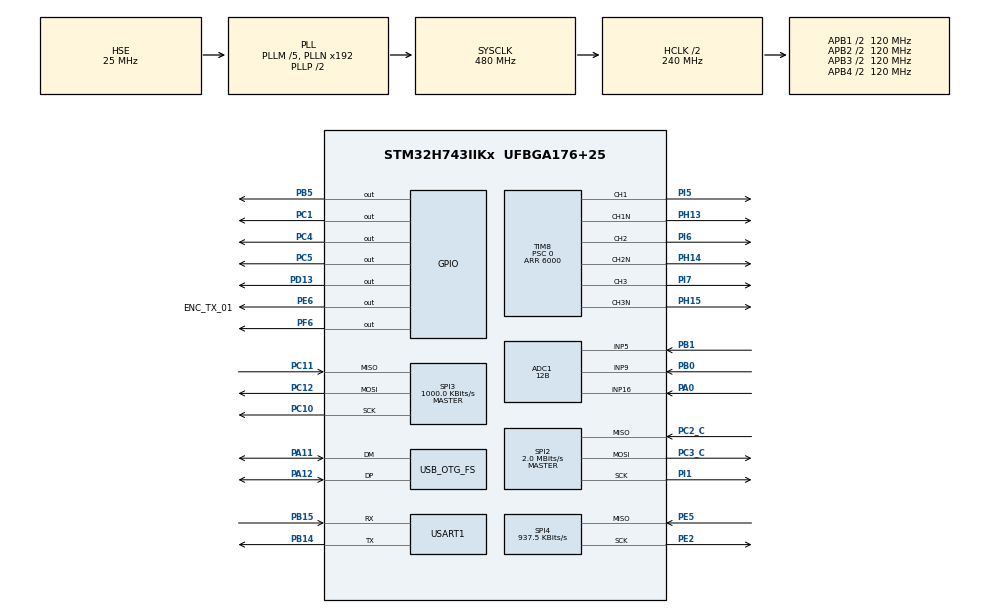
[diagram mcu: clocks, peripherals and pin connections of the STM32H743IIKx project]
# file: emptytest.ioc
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ADC1.Channel-1\#ChannelRegularConversion=ADC_CHANNEL_16
ADC1.ContinuousConvMode=ENABLE
ADC1.EnableInjectedConversion=ENABLE
ADC1.EOCSelection=ADC_EOC_SEQ_CONV
ADC1.ExternalTrigInjecConv=ADC_EXTERNALTRIGINJEC_T8_TRGO2
ADC1.ExternalTrigInjecConvEdge=ADC_EXTERNALTRIGINJECCONV_EDGE_RISING
ADC1.InjNumberOfConversion=2
ADC1.InjectedChannel-4\#ChannelInjectedConversion=ADC_CHANNEL_5
ADC1.InjectedChannel-5\#ChannelInjectedConversion=ADC_CHANNEL_9
ADC1.InjectedOffsetNumber-4\#ChannelInjectedConversion=ADC_OFFSET_NONE
ADC1.InjectedOffsetNumber-5\#ChannelInjectedConversion=ADC_OFFSET_NONE
ADC1.InjectedOffsetSaturation-4\#ChannelInjectedConversion=DISABLE
ADC1.InjectedOffsetSaturation-5\#ChannelInjectedConversion=DISABLE
ADC1.InjectedRank-4\#ChannelInjectedConversion=1
ADC1.InjectedRank-5\#ChannelInjectedConversion=2
ADC1.InjectedSamplingTime-4\#ChannelInjectedConversion=ADC_SAMPLETIME_32CYCLES_5
ADC1.InjectedSamplingTime-5\#ChannelInjectedConversion=ADC_SAMPLETIME_32CYCLES_5
ADC1.NbrOfConversion=1
ADC1.NbrOfConversionFlag=1
ADC1.OffsetNumber-1\#ChannelRegularConversion=ADC_OFFSET_NONE
ADC1.OffsetSignedSaturation-1\#ChannelRegularConversion=DISABLE
ADC1.Rank-1\#ChannelRegularConversion=1
ADC1.Resolution=ADC_RESOLUTION_12B
ADC1.SamplingTime-1\#ChannelRegularConversion=ADC_SAMPLETIME_32CYCLES_5
ADC1.master=1
CORTEX_M7.default_mode_Activation=1
Dma.Request0=SPI4_RX
Dma.Request1=SPI4_TX
Dma.SPI4_RX.0.Direction=DMA_PERIPH_TO_MEMORY
Dma.SPI4_RX.0.Instance=DMA1_Stream0
Dma.SPI4_RX.0.MemDataAlignment=DMA_MDATAALIGN_BYTE
Dma.SPI4_RX.0.MemInc=DMA_MINC_ENABLE
Dma.SPI4_RX.0.Mode=DMA_NORMAL
Dma.SPI4_RX.0.PeriphDataAlignment=DMA_PDATAALIGN_BYTE
Dma.SPI4_RX.0.PeriphInc=DMA_PINC_DISABLE
Dma.SPI4_RX.0.Priority=DMA_PRIORITY_HIGH
Dma.SPI4_TX.1.Direction=DMA_MEMORY_TO_PERIPH
Dma.SPI4_TX.1.Instance=DMA1_Stream1
Dma.SPI4_TX.1.MemDataAlignment=DMA_MDATAALIGN_BYTE
Dma.SPI4_TX.1.MemInc=DMA_MINC_ENABLE
Dma.SPI4_TX.1.Mode=DMA_NORMAL
Dma.SPI4_TX.1.PeriphDataAlignment=DMA_PDATAALIGN_BYTE
Dma.SPI4_TX.1.PeriphInc=DMA_PINC_DISABLE
Dma.SPI4_TX.1.Priority=DMA_PRIORITY_MEDIUM
Mcu.Family=STM32H7
Mcu.Name=STM32H743IIKx
Mcu.Package=UFBGA176+25
NVIC.ADC_IRQn=true\:0\:0\:false\:false\:true\:true\:true\:true
NVIC.DMA1_Stream0_IRQn=true\:1\:0\:false\:false\:true\:false\:true\:true
NVIC.DMA1_Stream1_IRQn=true\:1\:0\:false\:false\:true\:false\:true\:true
NVIC.OTG_FS_IRQn=true\:4\:0\:true\:false\:true\:false\:true\:true
NVIC.PriorityGroup=NVIC_PRIORITYGROUP_4
NVIC.SPI4_IRQn=true\:1\:0\:false\:false\:true\:true\:true\:true
NVIC.TIM6_DAC_IRQn=true\:2\:0\:true\:false\:true\:true\:true\:true
NVIC.TIM8_UP_TIM13_IRQn=true\:0\:0\:false\:false\:true\:true\:true\:true
NVIC.USART1_IRQn=true\:5\:0\:false\:false\:true\:true\:true\:true
PA0.Mode=IN16-Single-Ended
PA0.Signal=ADC1_INP16
PA11.Mode=Device_Only
PA11.Signal=USB_OTG_FS_DM
PA12.Mode=Device_Only
PA12.Signal=USB_OTG_FS_DP
PA13\ (JTMS/SWDIO).Mode=Serial_Wire
PA13\ (JTMS/SWDIO).Signal=DEBUG_JTMS-SWDIO
PA14\ (JTCK/SWCLK).Mode=Serial_Wire
PA14\ (JTCK/SWCLK).Signal=DEBUG_JTCK-SWCLK
PB0.Signal=ADCx_INP9
PB1.Signal=ADCx_INP5
PB14.Mode=Asynchronous
PB14.Signal=USART1_TX
PB15.Mode=Asynchronous
PB15.Signal=USART1_RX
PB5.PinState=GPIO_PIN_SET
PB5.Signal=GPIO_Output
PC1.Signal=GPIO_Output
PC10.Mode=Full_Duplex_Master
PC10.Signal=SPI3_SCK
PC11.Mode=Full_Duplex_Master
PC11.Signal=SPI3_MISO
PC12.Mode=Full_Duplex_Master
PC12.Signal=SPI3_MOSI
PC2_C.Mode=Full_Duplex_Master
PC2_C.Signal=SPI2_MISO
PC3_C.Mode=Full_Duplex_Master
PC3_C.Signal=SPI2_MOSI
PC4.Signal=GPIO_Output
PC5.Signal=GPIO_Output
PD13.Signal=GPIO_Output
PE2.Mode=Full_Duplex_Master
PE2.Signal=SPI4_SCK
PE5.Mode=Full_Duplex_Master
PE5.Signal=SPI4_MISO
PE6.GPIO_Label=ENC_TX_01
PE6.Signal=GPIO_Output
PF6.Signal=GPIO_Output
PH0-OSC_IN\ (PH0).Mode=HSE-External-Oscillator
PH0-OSC_IN\ (PH0).Signal=RCC_OSC_IN
PH1-OSC_OUT\ (PH1).Mode=HSE-External-Oscillator
PH1-OSC_OUT\ (PH1).Signal=RCC_OSC_OUT
PH13.Mode=PWM Generation1 CH1 CH1N
PH13.Signal=TIM8_CH1N
PH14.Mode=PWM Generation2 CH2 CH2N
PH14.Signal=TIM8_CH2N
PH15.Mode=PWM Generation3 CH3 CH3N
PH15.Signal=TIM8_CH3N
PI1.Mode=Full_Duplex_Master
PI1.Signal=SPI2_SCK
PI5.Signal=S_TIM8_CH1
PI6.Signal=S_TIM8_CH2
PI7.Signal=S_TIM8_CH3
ProjectManager.HeapSize=0x200
ProjectManager.StackSize=0x400
ProjectManager.TargetToolchain=MDK-ARM V5
RCC.ADCFreq_Value=50000000
RCC.APB1Freq_Value=120000000
RCC.APB2Freq_Value=120000000
RCC.APB3Freq_Value=120000000
RCC.APB4Freq_Value=120000000
RCC.CortexFreq_Value=480000000
RCC.D1PPRE=RCC_APB3_DIV2
RCC.D2PPRE1=RCC_APB1_DIV2
RCC.D2PPRE2=RCC_APB2_DIV2
RCC.D3PPRE=RCC_APB4_DIV2
RCC.DIVM1=5
RCC.DIVM2=2
RCC.DIVN1=192
RCC.DIVN2=12
RCC.DIVP2=3
RCC.DIVQ1=15
RCC.DIVQ2=3
RCC.HCLKFreq_Value=240000000
RCC.HPRE=RCC_HCLK_DIV2
RCC.PLL2FRACN=0
RCC.PLLFRACN=0
RCC.PLLSourceVirtual=RCC_PLLSOURCE_HSE
RCC.SYSCLKFreq_VALUE=480000000
RCC.SYSCLKSource=RCC_SYSCLKSOURCE_PLLCLK
RCC.USBCLockSelection=RCC_USBCLKSOURCE_HSI48
RCC.USBFreq_Value=48000000
SH.ADCx_INP5.0=ADC1_INP5,IN5-Single-Ended
SH.ADCx_INP9.0=ADC1_INP9,IN9-Single-Ended
SH.S_TIM8_CH1.0=TIM8_CH1,PWM Generation1 CH1 CH1N
SH.S_TIM8_CH2.0=TIM8_CH2,PWM Generation2 CH2 CH2N
SH.S_TIM8_CH3.0=TIM8_CH3,PWM Generation3 CH3 CH3N
SPI2.BaudRatePrescaler=SPI_BAUDRATEPRESCALER_32
SPI2.CLKPhase=SPI_PHASE_2EDGE
SPI2.CalculateBaudRate=2.0 MBits/s
SPI2.DataSize=SPI_DATASIZE_16BIT
SPI2.Direction=SPI_DIRECTION_2LINES
SPI2.Mode=SPI_MODE_MASTER
SPI2.VirtualType=VM_MASTER
SPI3.BaudRatePrescaler=SPI_BAUDRATEPRESCALER_64
SPI3.CLKPhase=SPI_PHASE_2EDGE
SPI3.CalculateBaudRate=1000.0 KBits/s
SPI3.DataSize=SPI_DATASIZE_8BIT
SPI3.Direction=SPI_DIRECTION_2LINES
SPI3.Mode=SPI_MODE_MASTER
SPI3.VirtualType=VM_MASTER
SPI4.BaudRatePrescaler=SPI_BAUDRATEPRESCALER_128
SPI4.CLKPhase=SPI_PHASE_1EDGE
SPI4.CLKPolarity=SPI_POLARITY_HIGH
SPI4.CalculateBaudRate=937.5 KBits/s
SPI4.DataSize=SPI_DATASIZE_8BIT
SPI4.Direction=SPI_DIRECTION_2LINES
SPI4.Mode=SPI_MODE_MASTER
SPI4.VirtualType=VM_MASTER
TIM6.Prescaler=239
TIM8.Channel-PWM\ Generation1\ CH1\ CH1N=TIM_CHANNEL_1
TIM8.Channel-PWM\ Generation2\ CH2\ CH2N=TIM_CHANNEL_2
TIM8.Channel-PWM\ Generation3\ CH3\ CH3N=TIM_CHANNEL_3
TIM8.Channel-PWM\ Generation4\ No\ Output=TIM_CHANNEL_4
TIM8.CounterMode=TIM_COUNTERMODE_CENTERALIGNED1
TIM8.MasterOutputTrigger2=TIM_TRGO2_OC4REF
TIM8.OCMode-PWM\ Generation4\ No\ Output=TIM_OCMODE_PWM2
TIM8.Period=6000
TIM8.Prescaler=0
TIM8.Pulse-PWM\ Generation4\ No\ Output=5700
TIM8.RepetitionCounter=1
USART1.VirtualMode-Asynchronous=VM_ASYNC
USB_DEVICE.CLASS_NAME_FS=CDC
USB_DEVICE.USBD_SELF_POWERED-CDC_FS=0
USB_DEVICE.VirtualMode-CDC_FS=Cdc
USB_DEVICE.VirtualModeFS=Cdc_FS
USB_OTG_FS.VirtualMode=Device_Only
VP_MEMORYMAP_VS_MEMORYMAP.Mode=CurAppReg
VP_TIM6_VS_ClockSourceINT.Mode=Enable_Timer
VP_TIM8_VS_ClockSourceINT.Mode=Internal
VP_TIM8_VS_no_output4.Mode=PWM Generation4 No Output
VP_USB_DEVICE_VS_USB_DEVICE_CDC_FS.Mode=CDC_FS
board=custom

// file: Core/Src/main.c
/* USER CODE BEGIN Header */
/**
  ******************************************************************************
  * @file           : main.c
  * @brief          : Main program body
  ******************************************************************************
  * @attention
  *
  * Copyright (c) 2026 STMicroelectronics.
  * All rights reserved.
  *
  * This software is licensed under terms that can be found in the LICENSE file
  * in the root directory of this software component.
  * If no LICENSE file comes with this software, it is provided AS-IS.
  *
  ******************************************************************************
  */
/* USER CODE END Header */
#include "main.h"
#include "adc.h"
#include "spi.h"
#include "tim.h"
#include "usart.h"
#include "usb_device.h"
#include "gpio.h"

/* USER CODE BEGIN Includes */
#include "biss_encoder.h"
#include "motor_control.h"
#include "motor_telemetry.h"
#include "motor_params.h"

/* USER CODE END Includes */

/* USER CODE BEGIN PV */
/*
 * 快速控制周期必须与 TIM8 更新事件周期严格一致：
 * 240 MHz / (2 * 6000) = 20 kHz，因此 dt = 50 us。
 * 后续修改 TIM8 时钟或 ARR 时，必须同步更新此常量，否则电角度积分和
 * 电流 PI 控制器的离散时间都会产生比例误差。
 */
#define MOTOR_FAST_TICK_S (MOTOR_CONTROL_PERIOD_S)

/*
 * 编译时启动模式只在这里选择：
 *   MOTOR_CONTROL_OPEN_VOLTAGE
 *       虚拟电角度 + 直接Ud/Uq，电流只监视、不参与调节；
 *   MOTOR_CONTROL_OPEN_ANGLE_CURRENT
 *       虚拟电角度 + Id/Iq电流PI；
 *   MOTOR_CONTROL_ENCODER_ANGLE_CURRENT
 *       编码器电角度 + Id/Iq电流PI，需要有效的编码器校准记录。
 *   MOTOR_CONTROL_ENCODER_SPEED_CURRENT
 *       编码器机械速度PI生成Iq，复用模式3的编码器电角度和20 kHz电流PI。
 *   MOTOR_CONTROL_ENCODER_POSITION_CURRENT
 *       单圈轴侧位置P环生成速度目标，再复用模式4的速度PI和20 kHz电流PI；进入时先保持当前位置。
 *
 * 五种运行模式共用同一套启动、采样、保护和PWM输出框架。.mode只决定
 * “角度从哪里来”和“Ud/Uq由谁生成”。已有目标命令会在启动前预置，
 * 所以编译前只改.mode即可选择启动状态。运行中不要直接写本const结构，
 * 应调用MotorControl_SwitchTo...()，切换会在20 kHz控制边界统一生效。
 *
 * frequency_slew_hz_per_s只作用于模式1/2的虚拟角频率；模式3/4/6使用编码器
 * 角度。voltage_slew_pu_per_s用于从电流闭环退回模式1时平滑恢复开环电压。
 */
static const MotorControlConfig motor_config = {
  .mode = MOTOR_CONTROL_ENCODER_SPEED_CURRENT,
  .frequency_slew_hz_per_s = 20.0f,
  .voltage_slew_pu_per_s = MOTOR_OPEN_VOLTAGE_SLEW_V_PER_S / MOTOR_NOMINAL_VBUS_V
};

/* USER CODE END PV */

void SystemClock_Config(void);
static void MPU_Config(void);

int main(void)
{

  /* MPU Configuration--------------------------------------------------------*/
  MPU_Config();

  /* MCU Configuration--------------------------------------------------------*/

  /* Reset of all peripherals, Initializes the Flash interface and the Systick. */
  HAL_Init();

  /* Configure the system clock */
  SystemClock_Config();

  /* Initialize all configured peripherals */
  MX_GPIO_Init();
  MX_ADC1_Init();
  MX_SPI2_Init();
  MX_SPI3_Init();
  MX_SPI4_Init();
  MX_TIM6_Init();
  MX_TIM8_Init();
  MX_USART1_UART_Init();
  MX_USB_DEVICE_Init();
  /* USER CODE BEGIN 2 */
  /*
   * 这里只绑定 SPI4/DMA，不会产生编码器时钟。PE6 已在 MX_GPIO_Init()
   * 中先配置为低电平，因此编码器接口上电期间不会出现无意义发送。
   */
  if (BissEncoder_Init(&hspi4) != HAL_OK)
  {
    Error_Handler();
  }

  /* 初始化控制状态和硬件适配对象，但不使能功率级。 */
  if (MotorControl_Init(&motor_config) != HAL_OK)
  {
    Error_Handler();
  }

  /*
   * 五种运行模式的命令集中预置，motor_config.mode决定实际使用哪一套。
   * 电流/角度命令源于原24 V硬件验证；20 kHz和48 V组合仍需实机确认。
   * 更换电机/母线/负载时，必须结合motor_params.h从低电压、低电流重新验证：
   *   模式1：电压开环，Ud=0、Uq=1.92 V（按所选母线归一化）、电角频率=1 Hz；
   *   模式2：虚拟角度+电流闭环，Id=0、Iq=0.8 A、电角频率=1 Hz；
   *   模式3：编码器角度+电流闭环，Id=0、Iq=0 A。
   *   模式4：编码器速度+电流闭环，目标5.2359878 rad/s。
   *   模式6：单圈轴侧位置+速度+电流闭环，目标60°。
   * Id通常保持0；Iq的正负决定转矩方向。模式3不是位置环，不会保持目标角度。
   */
  MotorControl_SetOpenLoopCommand(0.0f, MOTOR_OPEN_LOOP_START_UQ_V / MOTOR_NOMINAL_VBUS_V, 1.0f);
  MotorControl_SetCurrentCommand(0.0f, 0.8f, 1.0f);
  MotorControl_SetEncoderCurrentCommand(0.0f, 0.7f);
  MotorControl_SetSpeedCommand(5.2359878f);

  /* 位置目标只能为 [0, 360) 度；未选择模式6时不预置，避免日后切换时意外转动。 */
  if (motor_config.mode == MOTOR_CONTROL_ENCODER_POSITION_CURRENT)
  {
    if (MotorControl_SetPositionCommand(60.0f) != HAL_OK)
    {
      Error_Handler();
    }
  }

  /* 模式4与模式6共用速度 PI，参数由 motor_params.h 统一管理。 */
  if (MotorControl_SetSpeedPiGains(
          MOTOR_SPEED_PI_KP_A_PER_RAD_S,
          MOTOR_SPEED_PI_KI_A_PER_RAD,
          MOTOR_SPEED_PI_KAW_PER_S) != HAL_OK)
  {
    Error_Handler();
  }
  /*
   * 启动顺序由控制层保证：拉高 PC4 -> 等待 DRV8323 就绪 -> 写三个配置
   * 寄存器 -> 启动 TIM8 三路主 PWM 和三路互补 PWM。任一步失败均进入
   * Error_Handler()，且 PWM 启动失败时会重新拉低驱动使能。
   */
  if (MotorControl_Start() != HAL_OK)
  {
    Error_Handler();
  }
  MotorTelemetry_Init(&huart1, MOTOR_TELEMETRY_UART_ENABLED,
                      MOTOR_TELEMETRY_USB_ENABLED);

  /* USER CODE END 2 */

  /* Infinite loop */
  while (1)
  {

    /* USER CODE BEGIN 3 */
    /*
     * 处理编码器标定请求和停机后的 Flash 保存。该服务无忙等，但可能执行
     * Flash 擦写，所以只能放在主循环，禁止移动到 TIM8/ADC/SPI 中断。
     * 编码器校准由调试/通信命令显式调用 MotorControl_RequestEncoderCalibration()，
     * 上电不会自动校准；模式6若显式预置目标，则在控制就绪后按限速/斜率移动。
     */
    MotorControl_Service();
    MotorTelemetry_Service();
  }
  /* USER CODE END 3 */
}

void SystemClock_Config(void)
{
  RCC_OscInitTypeDef RCC_OscInitStruct = {0};
  RCC_ClkInitTypeDef RCC_ClkInitStruct = {0};

  /** Supply configuration update enable
  */
  HAL_PWREx_ConfigSupply(PWR_LDO_SUPPLY);

  /** Configure the main internal regulator output voltage
  */
  __HAL_PWR_VOLTAGESCALING_CONFIG(PWR_REGULATOR_VOLTAGE_SCALE0);

  while(!__HAL_PWR_GET_FLAG(PWR_FLAG_VOSRDY)) {}

  /** Initializes the RCC Oscillators according to the specified parameters
  * in the RCC_OscInitTypeDef structure.
  */
  RCC_OscInitStruct.OscillatorType = RCC_OSCILLATORTYPE_HSI48|RCC_OSCILLATORTYPE_HSE;
  RCC_OscInitStruct.HSEState = RCC_HSE_ON;
  RCC_OscInitStruct.HSI48State = RCC_HSI48_ON;
  RCC_OscInitStruct.PLL.PLLState = RCC_PLL_ON;
  RCC_OscInitStruct.PLL.PLLSource = RCC_PLLSOURCE_HSE;
  RCC_OscInitStruct.PLL.PLLM = 5;
  RCC_OscInitStruct.PLL.PLLN = 192;
  RCC_OscInitStruct.PLL.PLLP = 2;
  RCC_OscInitStruct.PLL.PLLQ = 15;
  RCC_OscInitStruct.PLL.PLLR = 2;
  RCC_OscInitStruct.PLL.PLLRGE = RCC_PLL1VCIRANGE_2;
  RCC_OscInitStruct.PLL.PLLVCOSEL = RCC_PLL1VCOWIDE;
  RCC_OscInitStruct.PLL.PLLFRACN = 0;
  if (HAL_RCC_OscConfig(&RCC_OscInitStruct) != HAL_OK)
  {
    Error_Handler();
  }

  /** Initializes the CPU, AHB and APB buses clocks
  */
  RCC_ClkInitStruct.ClockType = RCC_CLOCKTYPE_HCLK|RCC_CLOCKTYPE_SYSCLK
                              |RCC_CLOCKTYPE_PCLK1|RCC_CLOCKTYPE_PCLK2
                              |RCC_CLOCKTYPE_D3PCLK1|RCC_CLOCKTYPE_D1PCLK1;
  RCC_ClkInitStruct.SYSCLKSource = RCC_SYSCLKSOURCE_PLLCLK;
  RCC_ClkInitStruct.SYSCLKDivider = RCC_SYSCLK_DIV1;
  RCC_ClkInitStruct.AHBCLKDivider = RCC_HCLK_DIV2;
  RCC_ClkInitStruct.APB3CLKDivider = RCC_APB3_DIV2;
  RCC_ClkInitStruct.APB1CLKDivider = RCC_APB1_DIV2;
  RCC_ClkInitStruct.APB2CLKDivider = RCC_APB2_DIV2;
  RCC_ClkInitStruct.APB4CLKDivider = RCC_APB4_DIV2;

  if (HAL_RCC_ClockConfig(&RCC_ClkInitStruct, FLASH_LATENCY_4) != HAL_OK)
  {
    Error_Handler();
  }
}

/* USER CODE BEGIN 4 */
void HAL_UART_TxCpltCallback(UART_HandleTypeDef *huart)
{
  MotorTelemetry_OnUartComplete(huart);
}

void HAL_UART_ErrorCallback(UART_HandleTypeDef *huart)
{
  MotorTelemetry_OnUartError(huart);
}

void HAL_TIM_PeriodElapsedCallback(TIM_HandleTypeDef *htim)
{
  /*
   * HAL 可能把其他基础定时器的更新事件也分派到此回调，因此必须检查
   * Instance。只有 TIM8 更新事件属于电机20 kHz快速控制周期。
   */
  if (htim->Instance == TIM8)
  {
    /* 中断内仅执行确定时长的浮点运算和 CCR 写入，禁止阻塞外设访问。 */
    MotorControl_FastTick(MOTOR_FAST_TICK_S);
  }
}

void HAL_ADCEx_InjectedConvCpltCallback(ADC_HandleTypeDef *hadc)
{
  uint32_t phase_a_raw;
  uint32_t phase_b_raw;

  if (hadc->Instance != ADC1)
  {
    return;
  }

  /* HAL clears JEOS after this callback. Reject an early rank-1/JEOC call
   * rather than combine a new A sample with the preceding B sample. */
  if (__HAL_ADC_GET_FLAG(hadc, ADC_FLAG_JEOS) == RESET)
  {
    return;
  }

  /*
   * 注入序列顺序由 adc.c 固定：rank1=PB1/I_A，rank2=PB0/I_B。
   * 回调中只读取已经完成的 JDR，并把控制交给电机编排层；不执行阻塞操作。
   */
  phase_a_raw = HAL_ADCEx_InjectedGetValue(hadc, ADC_INJECTED_RANK_1);
  phase_b_raw = HAL_ADCEx_InjectedGetValue(hadc, ADC_INJECTED_RANK_2);
  MotorControl_CurrentSampleComplete(phase_a_raw, phase_b_raw, MOTOR_FAST_TICK_S);
}

void HAL_SPI_TxRxCpltCallback(SPI_HandleTypeDef *hspi)
{
  if (hspi->Instance == SPI4)
  {
    /*
     * DMA已收满6字节；这里只解析、校验并发布编码器快照。
     * FOC不会直接读取DMA缓冲区，而是在控制边界获取一致的快照副本。
     */
    BissEncoder_OnTransferComplete();
  }
}

void HAL_SPI_ErrorCallback(SPI_HandleTypeDef *hspi)
{
  if (hspi->Instance == SPI4)
  {
    BissEncoder_OnTransferError(hspi->ErrorCode);
  }
}

void HAL_SPI_AbortCpltCallback(SPI_HandleTypeDef *hspi)
{
  if (hspi->Instance == SPI4)
  {
    BissEncoder_OnAbortComplete();
  }
}

/* USER CODE END 4 */

 /* MPU Configuration */

void MPU_Config(void)
{
  MPU_Region_InitTypeDef MPU_InitStruct = {0};

  /* Disables the MPU */
  HAL_MPU_Disable();

  /** Initializes and configures the Region and the memory to be protected
  */
  MPU_InitStruct.Enable = MPU_REGION_ENABLE;
  MPU_InitStruct.Number = MPU_REGION_NUMBER0;
  MPU_InitStruct.BaseAddress = 0x0;
  MPU_InitStruct.Size = MPU_REGION_SIZE_4GB;
  MPU_InitStruct.SubRegionDisable = 0x87;
  MPU_InitStruct.TypeExtField = MPU_TEX_LEVEL0;
  MPU_InitStruct.AccessPermission = MPU_REGION_NO_ACCESS;
  MPU_InitStruct.DisableExec = MPU_INSTRUCTION_ACCESS_DISABLE;
  MPU_InitStruct.IsShareable = MPU_ACCESS_SHAREABLE;
  MPU_InitStruct.IsCacheable = MPU_ACCESS_NOT_CACHEABLE;
  MPU_InitStruct.IsBufferable = MPU_ACCESS_NOT_BUFFERABLE;

  HAL_MPU_ConfigRegion(&MPU_InitStruct);
  /* Enables the MPU */
  HAL_MPU_Enable(MPU_PRIVILEGED_DEFAULT);

}

void Error_Handler(void)
{
  __disable_irq();
  while (1)
  {
  }
}
